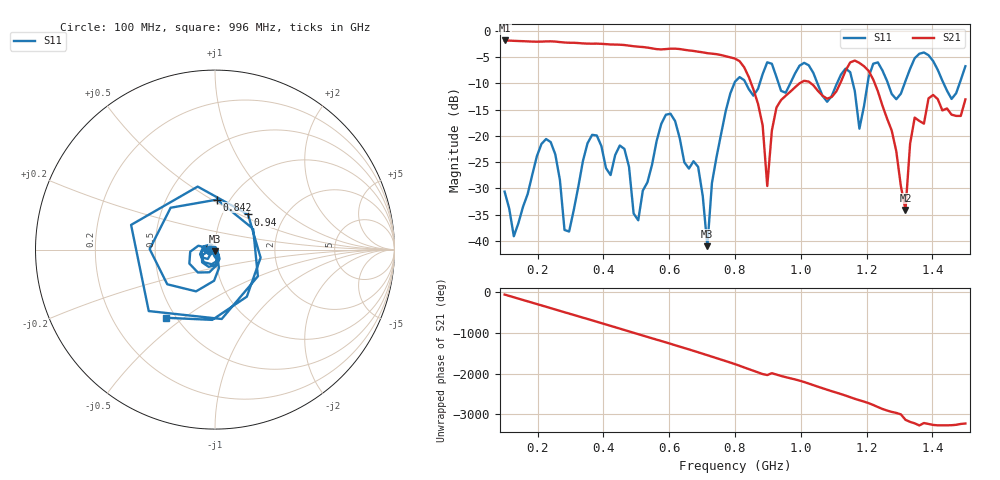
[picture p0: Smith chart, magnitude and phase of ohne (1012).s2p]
! NanoVNA-App
! Date: 2025-09-25 14:28:41
! Start: 100MHz Stop: 1,5GHz Points: 101
! S-Parameter data: F S11 S21 S12 S22
# Hz S RI R 50
!  Frequency  S11_Real  S11_Imag  S21_Real  S21_Imag  S12_Real  S12_Imag  S22_Real  S22_Imag
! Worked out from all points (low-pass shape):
!   101 points, 100 MHz to 1.5 GHz, reference 50 ohm
!   highest |S21| = -1.79 dB at 100 MHz (marker M1); lowest = -34.1 dB at 1.318 GHz (marker M2)
!   |S21| within 3 dB of the highest: start of sweep to 771.3 MHz
!   lowest |S11| = -41.0 dB at 716 MHz (marker M3), VSWR 1.02, Z = 49.7 - j0.844 ohm
!   |S11| at or under -10 dB: start of sweep to 797.8 MHz; 833.1 MHz to 875.1 MHz (41.97 MHz wide, 4.91 % of centre); 1.051 GHz to 1.11 GHz (59.11 MHz wide, 5.47 % of centre) (the widest 3 of 7)
!   S12 and S22 are empty: the file has one direction only
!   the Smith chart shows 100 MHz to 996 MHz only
!   S11 on the Smith chart (normalised r, x): 100 MHz: 0.94, -0.01; 842 MHz: 0.88, +0.53; 940 MHz: 1.32, +0.56; 996 MHz: 0.44, -0.43
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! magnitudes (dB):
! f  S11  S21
! 100 MHz  -30.6  -1.8
! 128 MHz  -39.1  -1.9
! 226 MHz  -20.6  -2.0
! 296 MHz  -38.2  -2.2
! 338 MHz  -24.8  -2.4
! 464 MHz  -22.5  -2.7
! 506 MHz  -36.1  -3.0
! 576 MHz  -17.7  -3.5
! 688 MHz  -25.9  -3.9
! 716 MHz  -41.0  -4.2
! 800 MHz  -9.7  -5.3
! 842 MHz  -11.1  -8.8
! 898 MHz  -6.0  -29.6
! 940 MHz  -11.4  -13.2
! 996 MHz  -6.6  -10.0
! 1.038 GHz  -8.0  -10.3
! 1.178 GHz  -18.6  -6.1
! 1.22 GHz  -6.2  -9.3
! 1.276 GHz  -12.0  -18.9
! 1.318 GHz  -9.5  -34.1
! 1.346 GHz  -5.2  -16.5
! 1.5 GHz  -6.7  -13.0
